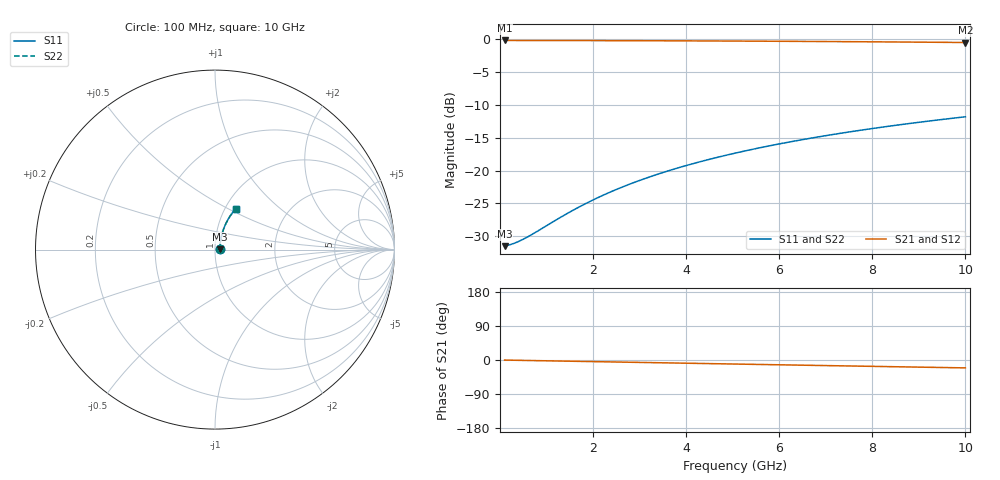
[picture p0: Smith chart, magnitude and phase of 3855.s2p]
# Hz S RI R 50.00
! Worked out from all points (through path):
!   100 points, 100 MHz to 10 GHz, reference 50 ohm
!   highest |S21| = -0.23 dB at 100 MHz (marker M1); lowest = -0.5 dB at 10 GHz (marker M2)
!   group delay of S21, straight-line fit = 5.79 ps
!   lowest |S11| = -31.5 dB at 100 MHz (marker M3), VSWR 1.05, Z = 52.7 + j0.27 ohm
!   |S11| at or under -10 dB: start of sweep to end of sweep
!   |S22| runs from -31.5 to -11.8 dB; largest |S21 - S12| = 0
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1e8  0.0265 0.00256  0.9735 -0.00361  0.9735 -0.00361  0.0265 0.00256
2e8  0.0267 0.00512  0.9733 -0.00722  0.9733 -0.00722  0.0267 0.00512
3e8  0.0269 0.00767  0.9731 -0.0108  0.9731 -0.0108  0.0269 0.00767
4e8  0.027 0.0102  0.973 -0.0144  0.973 -0.0144  0.027 0.0102
5e8  0.0272 0.0128  0.9728 -0.018  0.9728 -0.018  0.0272 0.0128
7e8  0.0276 0.0179  0.9724 -0.0252  0.9724 -0.0252  0.0276 0.0179
1.4e9  0.0293 0.0357  0.9706 -0.0504  0.9706 -0.0504  0.0293 0.0357
1.8e9  0.0307 0.0458  0.9691 -0.0647  0.9691 -0.0647  0.0307 0.0458
2.2e9  0.0323 0.0558  0.9674 -0.0789  0.9674 -0.0789  0.0323 0.0558
2.6e9  0.0342 0.0658  0.9654 -0.0931  0.9654 -0.0931  0.0342 0.0658
3e9  0.0364 0.0758  0.9631 -0.1073  0.9631 -0.1073  0.0364 0.0758
3.4e9  0.0389 0.0856  0.9604 -0.1213  0.9604 -0.1213  0.0389 0.0856
3.8e9  0.0416 0.0953  0.9575 -0.1353  0.9575 -0.1353  0.0416 0.0953
4.2e9  0.0447 0.105  0.9543 -0.1491  0.9543 -0.1491  0.0447 0.105
4.6e9  0.048 0.1145  0.9508 -0.1629  0.9508 -0.1629  0.048 0.1145
5.1e9  0.0525 0.1263  0.946 -0.1799  0.946 -0.1799  0.0525 0.1263
5.9e9  0.0605 0.1446  0.9375 -0.2067  0.9375 -0.2067  0.0605 0.1446
6.7e9  0.0695 0.1624  0.9279 -0.2329  0.9279 -0.2329  0.0695 0.1624
7.5e9  0.0795 0.1795  0.9172 -0.2585  0.9172 -0.2585  0.0795 0.1795
8.4e9  0.0918 0.1979  0.9041 -0.2865  0.9041 -0.2865  0.0918 0.1979
9.2e9  0.1037 0.2134  0.8915 -0.3105  0.8915 -0.3105  0.1037 0.2134
1e10  0.1162 0.2281  0.878 -0.3338  0.878 -0.3338  0.1162 0.2281
